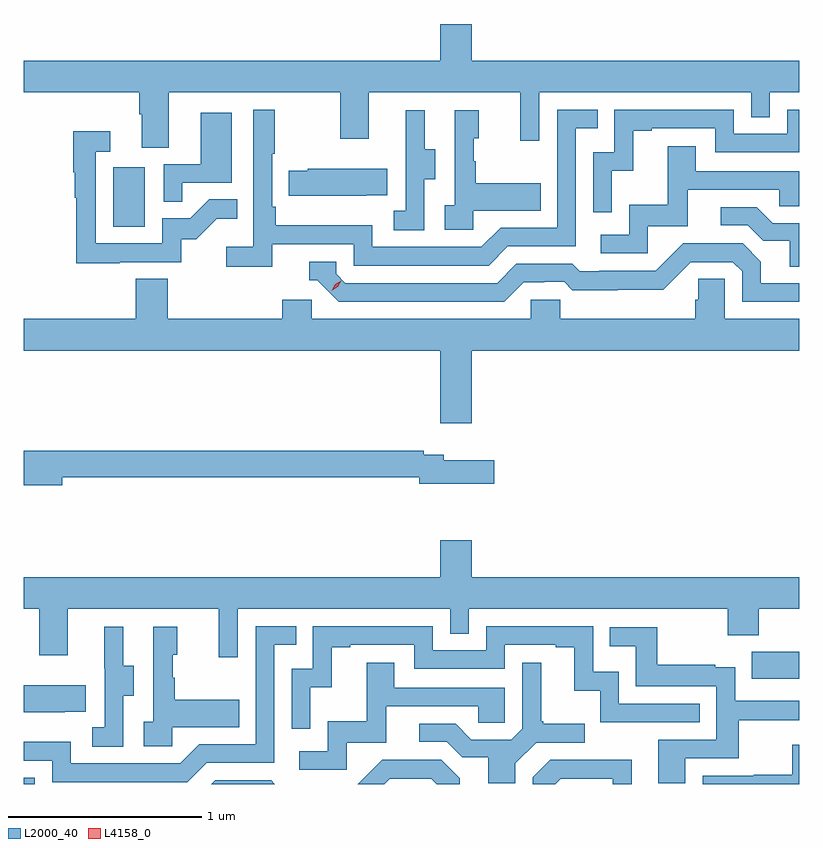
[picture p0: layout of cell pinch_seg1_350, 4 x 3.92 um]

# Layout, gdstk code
import gdstk
lib = gdstk.Library(unit=1e-6, precision=1e-09)
def R(c, l, rs):  # rectangles x0, y0, x1, y1
    for r in rs: c.add(gdstk.rectangle(r[:2], r[2:], *l))
def P(c, l, *ps):  # polygons
    for p in ps: c.add(gdstk.Polygon(p, *l))
L2000_40 = (2000, 40)
L4158_0 = (4158, 0)

pinch_seg1_350 = lib.new_cell('pinch_seg1_350')
R(pinch_seg1_350, L2000_40, [(966.057,560.153,966.114,560.184), (966.518,563.028,966.682,563.335)])
P(pinch_seg1_350, L2000_40, [(966.805,563.72),(967.69,563.72),(967.69,563.481),(967.837,563.481),(967.837,563.72),(968.618,563.72),(968.618,563.472),(968.715,563.472),(968.715,563.72),(969.81,563.72),(969.81,563.593),(969.906,563.593),(969.906,563.72),(970.057,563.72),(970.057,563.884),(968.368,563.884),(968.368,564.073),(968.204,564.073),(968.204,563.884),(966.057,563.884),(966.057,563.72),(966.653,563.72),(966.653,563.608),(966.665,563.608),(966.665,563.434),(966.805,563.434)],
  [(967.34,562.938),(967.758,562.938),(967.758,562.827),(968.455,562.827),(968.554,562.926),(968.904,562.926),(968.904,563.535),(969.017,563.535),(969.017,563.631),(968.808,563.631),(968.808,563.022),(968.517,563.022),(968.418,562.923),(967.854,562.923),(967.854,563.035),(967.358,563.035),(967.358,563.131),(967.338,563.131),(967.338,563.404),(967.351,563.404),(967.351,563.632),(967.242,563.632),(967.242,562.924),(967.101,562.924),(967.101,562.822),(967.34,562.822)],
  [(969.09,563.315),(969.2,563.315),(969.2,563.523),(969.295,563.523),(969.295,563.535),(969.624,563.535),(969.624,563.412),(970.057,563.412),(970.057,563.631),(969.996,563.631),(969.996,563.508),(969.72,563.508),(969.72,563.631),(969.102,563.631),(969.102,563.412),(968.994,563.412),(968.994,563.103),(969.09,563.103)],
  [(968.124,563.272),(968.179,563.272),(968.179,563.427),(968.125,563.427),(968.125,563.629),(968.027,563.629),(968.027,563.415),(968.028,563.415),(968.028,563.111),(967.965,563.111),(967.965,563.008),(968.124,563.008)],
  [(968.376,563.111),(968.723,563.111),(968.723,563.251),(968.389,563.251),(968.389,563.366),(968.379,563.366),(968.379,563.484),(968.404,563.484),(968.404,563.629),(968.28,563.629),(968.28,563.138),(968.229,563.138),(968.229,563.013),(968.376,563.013)],
  [(966.875,563.253),(967.129,563.253),(967.129,563.614),(966.971,563.614),(966.971,563.349),(966.78,563.349),(966.78,563.155),(966.875,563.155)],
  [(966.551,562.845),(966.87,562.845),(966.87,562.962),(966.946,562.962),(967.053,563.069),(967.157,563.069),(967.157,563.168),(967.013,563.168),(966.915,563.07),(966.771,563.07),(966.771,562.941),(966.429,562.941),(966.429,563.415),(966.502,563.415),(966.502,563.521),(966.313,563.521),(966.313,563.308),(966.321,563.308),(966.321,563.178),(966.328,563.178),(966.328,562.84),(966.551,562.84)],
  [(969.276,563.031),(969.481,563.031),(969.481,563.217),(969.955,563.217),(969.955,563.133),(970.057,563.133),(970.057,563.313),(969.523,563.313),(969.523,563.443),(969.379,563.443),(969.379,563.14),(969.18,563.14),(969.18,562.986),(969.033,562.986),(969.033,562.89),(969.276,562.89)],
  [(967.823,563.189),(967.931,563.189),(967.931,563.326),(967.521,563.326),(967.521,563.316),(967.423,563.316),(967.423,563.186),(967.823,563.186)],
  [(970.057,563.046),(969.919,563.046),(969.838,563.127),(969.651,563.127),(969.651,563.034),(969.792,563.034),(969.872,562.954),(970.007,562.954),(970.007,562.822),(970.057,562.822)],
  [(968.635,562.74),(968.742,562.74),(968.742,562.743),(968.845,562.743),(968.887,562.701),(969.12,562.701),(969.12,562.703),(969.356,562.703),(969.498,562.845),(969.714,562.845),(969.762,562.797),(969.762,562.641),(970.057,562.641),(970.057,562.737),(969.859,562.737),(969.859,562.847),(969.765,562.941),(969.459,562.941),(969.318,562.8),(969.025,562.8),(969.025,562.797),(968.926,562.797),(968.887,562.836),(968.598,562.836),(968.499,562.737),(967.716,562.737),(967.668,562.785),(967.668,562.848),(967.529,562.848),(967.529,562.752),(967.572,562.752),(967.683,562.641),(968.536,562.641)],
  [(968.368,562.388),(970.057,562.388),(970.057,562.552),(969.672,562.552),(969.672,562.76),(969.535,562.76),(969.535,562.65),(969.521,562.65),(969.521,562.552),(968.823,562.552),(968.823,562.65),(968.673,562.65),(968.673,562.552),(967.542,562.552),(967.542,562.65),(967.391,562.65),(967.391,562.552),(966.8,562.552),(966.8,562.76),(966.635,562.76),(966.635,562.552),(966.057,562.552),(966.057,562.388),(968.204,562.388),(968.204,562.014),(968.368,562.014)],
  [(966.256,561.736),(968.096,561.736),(968.096,561.701),(968.485,561.701),(968.485,561.823),(968.224,561.823),(968.224,561.852),(968.12,561.852),(968.12,561.872),(966.057,561.872),(966.057,561.694),(966.256,561.694)],
  [(967.161,561.056),(968.256,561.056),(968.256,560.929),(968.352,560.929),(968.352,561.056),(969.688,561.056),(969.688,560.921),(969.848,560.921),(969.848,561.056),(970.057,561.056),(970.057,561.22),(968.368,561.22),(968.368,561.409),(968.204,561.409),(968.204,561.22),(966.057,561.22),(966.057,561.056),(966.136,561.056),(966.136,560.817),(966.283,560.817),(966.283,561.056),(967.064,561.056),(967.064,560.808),(967.161,560.808)],
  [(967.536,560.651),(967.646,560.651),(967.646,560.859),(967.741,560.859),(967.741,560.871),(968.07,560.871),(968.07,560.748),(968.538,560.748),(968.538,560.871),(968.801,560.871),(968.801,560.859),(968.897,560.859),(968.897,560.633),(969.03,560.633),(969.03,560.472),(969.545,560.472),(969.545,560.568),(969.126,560.568),(969.126,560.731),(968.994,560.731),(968.994,560.967),(968.442,560.967),(968.442,560.844),(968.166,560.844),(968.166,560.967),(967.548,560.967),(967.548,560.748),(967.44,560.748),(967.44,560.439),(967.536,560.439)],
  [(967,560.262),(967.35,560.262),(967.35,560.871),(967.463,560.871),(967.463,560.967),(967.254,560.967),(967.254,560.358),(966.963,560.358),(966.864,560.259),(966.3,560.259),(966.3,560.371),(966.057,560.371),(966.057,560.274),(966.204,560.274),(966.204,560.163),(966.901,560.163)],
  [(966.822,560.447),(967.169,560.447),(967.169,560.587),(966.835,560.587),(966.835,560.702),(966.825,560.702),(966.825,560.82),(966.85,560.82),(966.85,560.965),(966.726,560.965),(966.726,560.474),(966.675,560.474),(966.675,560.349),(966.822,560.349)],
  [(966.57,560.608),(966.625,560.608),(966.625,560.763),(966.571,560.763),(966.571,560.965),(966.473,560.965),(966.473,560.751),(966.474,560.751),(966.474,560.447),(966.411,560.447),(966.411,560.344),(966.57,560.344)],
  [(969.469,560.286),(969.746,560.286),(969.746,560.482),(970.057,560.482),(970.057,560.583),(969.726,560.583),(969.726,560.755),(969.623,560.755),(969.623,560.767),(969.325,560.767),(969.325,560.961),(969.079,560.961),(969.079,560.864),(969.214,560.864),(969.214,560.658),(969.63,560.658),(969.63,560.382),(969.329,560.382),(969.329,560.158),(969.469,560.158)],
  [(970.025,560.697),(970.057,560.697),(970.057,560.836),(969.811,560.836),(969.811,560.696),(970.025,560.696)],
  [(967.722,560.367),(967.927,560.367),(967.927,560.553),(968.401,560.553),(968.401,560.469),(968.538,560.469),(968.538,560.649),(967.969,560.649),(967.969,560.779),(967.825,560.779),(967.825,560.476),(967.626,560.476),(967.626,560.322),(967.479,560.322),(967.479,560.226),(967.722,560.226)],
  [(968.593,560.26),(968.7,560.367),(968.95,560.367),(968.95,560.464),(968.737,560.464),(968.737,560.476),(968.725,560.476),(968.725,560.779),(968.628,560.779),(968.628,560.439),(968.571,560.382),(968.365,560.382),(968.284,560.463),(968.097,560.463),(968.097,560.37),(968.238,560.37),(968.318,560.29),(968.453,560.29),(968.453,560.158),(968.593,560.158)],
  [(966.269,560.525),(966.377,560.525),(966.377,560.662),(966.057,560.662),(966.057,560.522),(966.269,560.522)],
  [(970.057,560.356),(970.02,560.356),(970.02,560.201),(969.823,560.201),(969.823,560.196),(969.558,560.196),(969.558,560.153),(970.057,560.153)],
  [(968.826,560.181),(969.096,560.181),(969.096,560.153),(969.193,560.153),(969.193,560.279),(968.988,560.279),(968.988,560.277),(968.772,560.277),(968.682,560.187),(968.682,560.153),(968.798,560.153)],
  [(967.944,560.181),(968.16,560.181),(968.188,560.153),(968.305,560.153),(968.305,560.183),(968.211,560.277),(967.905,560.277),(967.781,560.153),(967.916,560.153)],
  [(967.333,560.172),(967.044,560.172),(967.025,560.153),(967.352,560.153)])
P(pinch_seg1_350, L4158_0, [(967.646,562.698),(967.646,562.698),(967.663,562.73),(967.694,562.75),(967.694,562.75),(967.694,562.749),(967.677,562.717),(967.646,562.698)])

lib.write_gds('pinch_seg1_350.gds')
